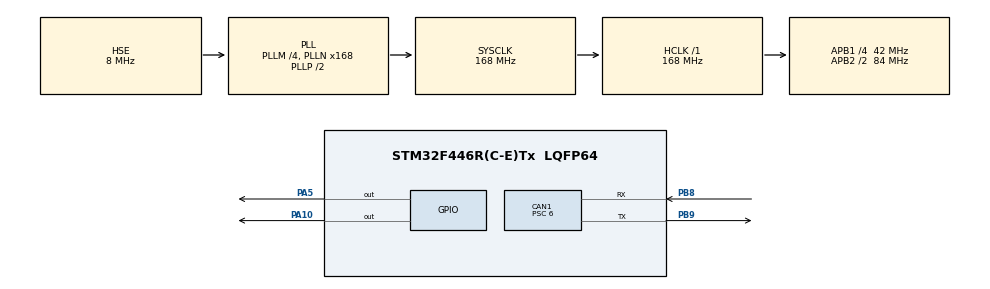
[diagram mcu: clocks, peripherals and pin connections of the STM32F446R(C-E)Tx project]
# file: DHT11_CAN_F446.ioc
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CAN1.BS1=CAN_BS1_11TQ
CAN1.BS2=CAN_BS2_2TQ
CAN1.CalculateBaudRate=500000
CAN1.CalculateTimeBit=1999.99
CAN1.CalculateTimeQuantum=142.85714285714286
CAN1.Prescaler=6
Mcu.Family=STM32F4
Mcu.Name=STM32F446R(C-E)Tx
Mcu.Package=LQFP64
NVIC.CAN1_RX1_IRQn=true\:0\:0\:false\:false\:true\:true\:true
NVIC.PriorityGroup=NVIC_PRIORITYGROUP_0
NVIC.TIM1_UP_TIM10_IRQn=true\:0\:0\:false\:false\:true\:false\:true
NVIC.TimeBase=TIM1_UP_TIM10_IRQn
NVIC.TimeBaseIP=TIM1
PA10.Signal=GPIO_Output
PA5.Signal=GPIO_Output
PB8.Mode=CAN_Activate
PB8.Signal=CAN1_RX
PB9.Mode=CAN_Activate
PB9.Signal=CAN1_TX
PH0-OSC_IN.Mode=HSE-External-Oscillator
PH0-OSC_IN.Signal=RCC_OSC_IN
PH1-OSC_OUT.Mode=HSE-External-Oscillator
PH1-OSC_OUT.Signal=RCC_OSC_OUT
ProjectManager.HeapSize=0x200
ProjectManager.StackSize=0x400
ProjectManager.TargetToolchain=STM32CubeIDE
RCC.48MHZClocksFreq_Value=84000000
RCC.AHBFreq_Value=168000000
RCC.APB1CLKDivider=RCC_HCLK_DIV4
RCC.APB1Freq_Value=42000000
RCC.APB1TimFreq_Value=84000000
RCC.APB2CLKDivider=RCC_HCLK_DIV2
RCC.APB2Freq_Value=84000000
RCC.APB2TimFreq_Value=168000000
RCC.CortexFreq_Value=168000000
RCC.FLatency-AdvancedSettings=FLASH_LATENCY_5
RCC.HCLKFreq_Value=168000000
RCC.HSE_VALUE=8000000
RCC.HSI_VALUE=16000000
RCC.PLLM=4
RCC.PLLN=168
RCC.PLLSourceVirtual=RCC_PLLSOURCE_HSE
RCC.SYSCLKFreq_VALUE=168000000
RCC.SYSCLKSource=RCC_SYSCLKSOURCE_PLLCLK
RCC.USBFreq_Value=168000000
RCC.VCOOutputFreq_Value=336000000
TIM6.Period=65535
TIM6.Prescaler=84-1
VP_SYS_VS_tim1.Mode=TIM1
VP_TIM6_VS_ClockSourceINT.Mode=Enable_Timer
board=NUCLEO-F446RE

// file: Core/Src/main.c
/* USER CODE BEGIN Header */
/**
  ******************************************************************************
  * @file           : main.c
  * @brief          : Main program body
  ******************************************************************************
  * @attention
  *
  * <h2><center>&copy; Copyright (c) 2021 STMicroelectronics.
  * All rights reserved.</center></h2>
  *
  * This software component is licensed by ST under BSD 3-Clause license,
  * the "License"; You may not use this file except in compliance with the
  * License. You may obtain a copy of the License at:
  *                        opensource.org/licenses/BSD-3-Clause
  *
  ******************************************************************************
  */
/* USER CODE END Header */
#include "main.h"

/* USER CODE BEGIN Includes */
#include <DHT11.h>
/* USER CODE END Includes */

CAN_HandleTypeDef hcan1;

TIM_HandleTypeDef htim6;

/* USER CODE BEGIN PV */

#define DHT_PORT		GPIOA
#define DHT_PIN			GPIO_PIN_10

/* CAN Variables */
CAN_TxHeaderTypeDef TxHeader;
CAN_RxHeaderTypeDef RxHeader;
uint8_t TxData[8];
uint8_t RxData[8];
uint32_t TxMailbox;

uint8_t comingData;
const uint8_t idNumber = 0x11;

/* DHT11 Variables */
DHT_InitTypeDef DHT_InitStruct;
uint8_t Check;
volatile uint8_t Temperature;
volatile uint8_t Humidity;
/* USER CODE END PV */

void SystemClock_Config(void);
static void MX_GPIO_Init(void);
static void MX_CAN1_Init(void);
static void MX_TIM6_Init(void);

/* USER CODE BEGIN 0 */

void HAL_CAN_RxFifo1MsgPendingCallback(CAN_HandleTypeDef *hcan)
{
	if(HAL_CAN_GetRxMessage(&hcan1, CAN_RX_FIFO1, &RxHeader, RxData) != HAL_OK)
	{
		Error_Handler();
	}

	if(memcmp(RxData, &idNumber, sizeof(idNumber)) == 0)
	{
		HAL_GPIO_WritePin(GPIOA, GPIO_PIN_5, GPIO_PIN_SET); 	/* For testing */
		comingData = 1;
	}
}
/* USER CODE END 0 */

int main(void)
{

  /* MCU Configuration--------------------------------------------------------*/

  /* Reset of all peripherals, Initializes the Flash interface and the Systick. */
  HAL_Init();

  /* Configure the system clock */
  SystemClock_Config();

  /* Initialize all configured peripherals */
  MX_GPIO_Init();
  MX_CAN1_Init();
  MX_TIM6_Init();
  /* USER CODE BEGIN 2 */

  /* Start CAN Communication */
  if(HAL_CAN_Start(&hcan1) != HAL_OK)
  {
	  Error_Handler();
  }

  /* Enable CAN Interrupt */
  if(HAL_CAN_ActivateNotification(&hcan1, CAN_IT_RX_FIFO1_MSG_PENDING) != HAL_OK)
  {
	  Error_Handler();
  }

  /* USER CODE END 2 */

  /* Infinite loop */
  while (1)
  {

    /* USER CODE BEGIN 3 */

	  Check = DHT11_Read(&DHT_InitStruct, &htim6, DHT_PORT, DHT_PIN);
	  Temperature = DHT_InitStruct.Temperature;
	  Humidity = DHT_InitStruct.Humidity;

	  if(comingData)
	  {
		  HAL_GPIO_WritePin(GPIOA, GPIO_PIN_5, GPIO_PIN_RESET);

		  TxData[0] = Temperature;
		  TxData[1] = Humidity;

		  if(HAL_CAN_AddTxMessage(&hcan1, &TxHeader, TxData, &TxMailbox) != HAL_OK)
		  {
			  Error_Handler();
		  }

		  comingData = 0;
	  }

  }
  /* USER CODE END 3 */
}

void SystemClock_Config(void)
{
  RCC_OscInitTypeDef RCC_OscInitStruct = {0};
  RCC_ClkInitTypeDef RCC_ClkInitStruct = {0};

  /** Configure the main internal regulator output voltage
  */
  __HAL_RCC_PWR_CLK_ENABLE();
  __HAL_PWR_VOLTAGESCALING_CONFIG(PWR_REGULATOR_VOLTAGE_SCALE1);
  /** Initializes the RCC Oscillators according to the specified parameters
  * in the RCC_OscInitTypeDef structure.
  */
  RCC_OscInitStruct.OscillatorType = RCC_OSCILLATORTYPE_HSE;
  RCC_OscInitStruct.HSEState = RCC_HSE_ON;
  RCC_OscInitStruct.PLL.PLLState = RCC_PLL_ON;
  RCC_OscInitStruct.PLL.PLLSource = RCC_PLLSOURCE_HSE;
  RCC_OscInitStruct.PLL.PLLM = 4;
  RCC_OscInitStruct.PLL.PLLN = 168;
  RCC_OscInitStruct.PLL.PLLP = RCC_PLLP_DIV2;
  RCC_OscInitStruct.PLL.PLLQ = 2;
  RCC_OscInitStruct.PLL.PLLR = 2;
  if (HAL_RCC_OscConfig(&RCC_OscInitStruct) != HAL_OK)
  {
    Error_Handler();
  }
  /** Initializes the CPU, AHB and APB buses clocks
  */
  RCC_ClkInitStruct.ClockType = RCC_CLOCKTYPE_HCLK|RCC_CLOCKTYPE_SYSCLK
                              |RCC_CLOCKTYPE_PCLK1|RCC_CLOCKTYPE_PCLK2;
  RCC_ClkInitStruct.SYSCLKSource = RCC_SYSCLKSOURCE_PLLCLK;
  RCC_ClkInitStruct.AHBCLKDivider = RCC_SYSCLK_DIV1;
  RCC_ClkInitStruct.APB1CLKDivider = RCC_HCLK_DIV4;
  RCC_ClkInitStruct.APB2CLKDivider = RCC_HCLK_DIV2;

  if (HAL_RCC_ClockConfig(&RCC_ClkInitStruct, FLASH_LATENCY_5) != HAL_OK)
  {
    Error_Handler();
  }
}

static void MX_CAN1_Init(void)
{

  hcan1.Instance = CAN1;
  hcan1.Init.Prescaler = 6;
  hcan1.Init.Mode = CAN_MODE_NORMAL;
  hcan1.Init.SyncJumpWidth = CAN_SJW_1TQ;
  hcan1.Init.TimeSeg1 = CAN_BS1_11TQ;
  hcan1.Init.TimeSeg2 = CAN_BS2_2TQ;
  hcan1.Init.TimeTriggeredMode = DISABLE;
  hcan1.Init.AutoBusOff = DISABLE;
  hcan1.Init.AutoWakeUp = DISABLE;
  hcan1.Init.AutoRetransmission = DISABLE;
  hcan1.Init.ReceiveFifoLocked = DISABLE;
  hcan1.Init.TransmitFifoPriority = DISABLE;
  if (HAL_CAN_Init(&hcan1) != HAL_OK)
  {
    Error_Handler();
  }
  /* USER CODE BEGIN CAN1_Init 2 */

  TxHeader.DLC = 2;
  TxHeader.IDE = CAN_ID_STD;
  TxHeader.RTR = CAN_RTR_DATA;
  TxHeader.StdId = 0x101;

  /* CAN Filter Configuration(No Filter) */
//  CAN_FilterTypeDef FilterConfig;
//
//  FilterConfig.FilterActivation = ENABLE;
//  FilterConfig.FilterBank = 6;
//  FilterConfig.FilterFIFOAssignment = CAN_FILTER_FIFO1;
//  FilterConfig.FilterIdHigh = 0x0000 << 5;
//  FilterConfig.FilterIdLow = 0x0000;
//  FilterConfig.FilterMaskIdHigh = 0x0000 << 5;
//  FilterConfig.FilterMaskIdLow = 0x0000;
//  FilterConfig.FilterMode = CAN_FILTERMODE_IDMASK;
//  FilterConfig.FilterScale = CAN_FILTERSCALE_32BIT;
//
//  if(HAL_CAN_ConfigFilter(&hcan1, &FilterConfig) != HAL_OK)
//  {
//	  Error_Handler();
//  }

  /* CAN Filter Configuration(Filter) StdId 0x407 is only accepted */
  CAN_FilterTypeDef FilterConfig;

  FilterConfig.FilterActivation = ENABLE;
  FilterConfig.FilterBank = 6;
  FilterConfig.FilterFIFOAssignment = CAN_FILTER_FIFO1;
  FilterConfig.FilterIdHigh = 0x0407 << 5;
  FilterConfig.FilterIdLow = 0x0000;
  FilterConfig.FilterMaskIdHigh = 0xFFFF << 5;
  FilterConfig.FilterMaskIdLow = 0x0000;
  FilterConfig.FilterMode = CAN_FILTERMODE_IDMASK;
  FilterConfig.FilterScale = CAN_FILTERSCALE_32BIT;

  if(HAL_CAN_ConfigFilter(&hcan1, &FilterConfig) != HAL_OK)
  {
	  Error_Handler();
  }

  /* USER CODE END CAN1_Init 2 */

}

static void MX_TIM6_Init(void)
{

  TIM_MasterConfigTypeDef sMasterConfig = {0};

  htim6.Instance = TIM6;
  htim6.Init.Prescaler = 84-1;
  htim6.Init.CounterMode = TIM_COUNTERMODE_UP;
  htim6.Init.Period = 65535;
  htim6.Init.AutoReloadPreload = TIM_AUTORELOAD_PRELOAD_DISABLE;
  if (HAL_TIM_Base_Init(&htim6) != HAL_OK)
  {
    Error_Handler();
  }
  sMasterConfig.MasterOutputTrigger = TIM_TRGO_RESET;
  sMasterConfig.MasterSlaveMode = TIM_MASTERSLAVEMODE_DISABLE;
  if (HAL_TIMEx_MasterConfigSynchronization(&htim6, &sMasterConfig) != HAL_OK)
  {
    Error_Handler();
  }

}

static void MX_GPIO_Init(void)
{
  GPIO_InitTypeDef GPIO_InitStruct = {0};

  /* GPIO Ports Clock Enable */
  __HAL_RCC_GPIOH_CLK_ENABLE();
  __HAL_RCC_GPIOA_CLK_ENABLE();
  __HAL_RCC_GPIOB_CLK_ENABLE();

  /*Configure GPIO pin Output Level */
  HAL_GPIO_WritePin(GPIOA, GPIO_PIN_5|GPIO_PIN_10, GPIO_PIN_RESET);

  /*Configure GPIO pins : PA5 PA10 */
  GPIO_InitStruct.Pin = GPIO_PIN_5|GPIO_PIN_10;
  GPIO_InitStruct.Mode = GPIO_MODE_OUTPUT_PP;
  GPIO_InitStruct.Pull = GPIO_NOPULL;
  GPIO_InitStruct.Speed = GPIO_SPEED_FREQ_LOW;
  HAL_GPIO_Init(GPIOA, &GPIO_InitStruct);

}

void HAL_TIM_PeriodElapsedCallback(TIM_HandleTypeDef *htim)
{
  if (htim->Instance == TIM1) {
    HAL_IncTick();
  }
}

void Error_Handler(void)
{
  __disable_irq();
  while (1)
  {
  }
}

/************************ (C) COPYRIGHT STMicroelectronics *****END OF FILE****/
